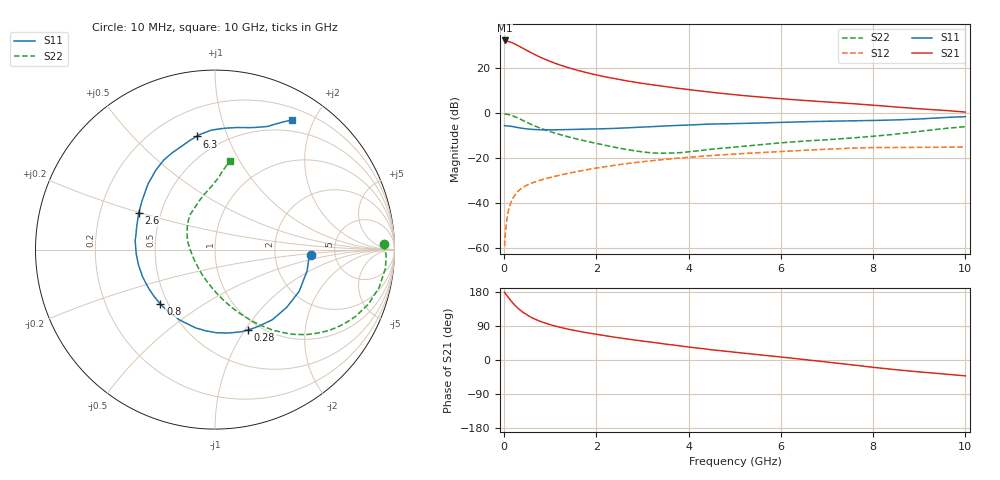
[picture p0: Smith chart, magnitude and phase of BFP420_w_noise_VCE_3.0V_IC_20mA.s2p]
! Infineon Technologies  Discrete & RF Semiconductors
! BFP420
! VCE =  3.0 V,  IC =  20 mA
! Common Emitter S-Parameters:  Jan 2016
# GHz  S  MA  R  50
!  f  S11  S21  S12  S22
! GHz  MAG  ANG  MAG  ANG  MAG  ANG  MAG  ANG
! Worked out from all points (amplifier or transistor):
!   233 points, 10 MHz to 10 GHz, reference 50 ohm
!   highest |S21| = 32.4 dB at 10 MHz (marker M1)
!   |S21| within 3 dB of that: start of sweep to 363.2 MHz
!   unconditionally stable (mu >= 1): 1.836 GHz to end of sweep
!   at 200 MHz: K = 0.24, MSG = 34.3 dB, |S12| = -37.5 dB
!   at 1.74 GHz: K = 0.98, MSG = 21.8 dB, |S12| = -25.3 dB
!   at 10 GHz: K = 1.07, MAG = 6.2 dB, |S12| = -15.0 dB
!   lowest NFmin = 1.23 dB at 900 MHz
!   S11 on the Smith chart (normalised r, x): 10 MHz: 3.26, -0.26; 280 MHz: 0.88, -1.03; 800 MHz: 0.45, -0.34; 2.6 GHz: 0.38, +0.19; 6.3 GHz: 0.37, +0.78; 10 GHz: 0.35, +1.71
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0.01  0.5332 -3.1  41.73 178.8  0.0011 84.1  0.9416 1.8
0.02  0.5259 -4.7  40.74 176.3  0.0017 87.8  0.9546 -2.1
0.075  0.5216 -19.6  39.84 167.4  0.0055 80.5  0.945 -9.7
0.1  0.5236 -26.3  39.51 163.4  0.0073 78.7  0.938 -13.1
0.15  0.5131 -38.7  37.97 155.8  0.0105 74.9  0.9074 -19.5
0.2  0.5048 -50.6  36.15 148.9  0.0134 71.1  0.8685 -25.3
0.28  0.4834 -67.7  32.82 138.9  0.0174 65.8  0.7983 -33.2
0.34  0.4722 -79.1  30.45 132.4  0.02 62.7  0.7456 -38.3
0.4  0.463 -89.3  28.16 126.5  0.0222 60.4  0.6956 -42.9
0.5  0.4492 -104.0  24.7 118.4  0.0253 57.6  0.6201 -49.0
0.6  0.4391 -116.1  21.79 111.6  0.028 55.7  0.5566 -54.0
0.8  0.4301 -135.0  17.33 101.1  0.0327 53.9  0.4593 -61.7
1  0.428 -149.1  14.23 93.1  0.0372 53.2  0.3895 -67.9
1.14  0.4291 -156.9  12.58 88.5  0.0403 52.8  0.352 -71.8
1.68  0.4409 -179.4  8.547 74.4  0.0527 51.4  0.2524 -86.1
2.6  0.4712 154.6  5.389 56.5  0.0743 46.0  0.1599 -115.2
3.4  0.5148 137.5  4.033 43.7  0.0922 39.6  0.1288 -152.2
5.1  0.5919 112.8  2.525 19.2  0.1253 24.5  0.1805 149.3
6.3  0.6389 99.2  1.996 4.0  0.1459 14.1  0.232 127.6
6.8  0.6578 93.9  1.838 -2.7  0.1548 9.4  0.2502 119.6
8.4  0.7058 74.3  1.402 -24.5  0.1729 -8.2  0.3357 96.1
10  0.8408 59.2  1.061 -41.9  0.1769 -20.4  0.5035 80.2
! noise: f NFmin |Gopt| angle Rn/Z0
0.9  1.23  0.16  -154  0.13
1.8  1.51  0.24  -144  0.13
2.4  1.66  0.22  -141  0.15
3  1.69  0.3  -132  0.16
4  1.82  0.42  -115  0.23
5  2.28  0.48  -96  0.37
6  2.65  0.52  -86  0.56
